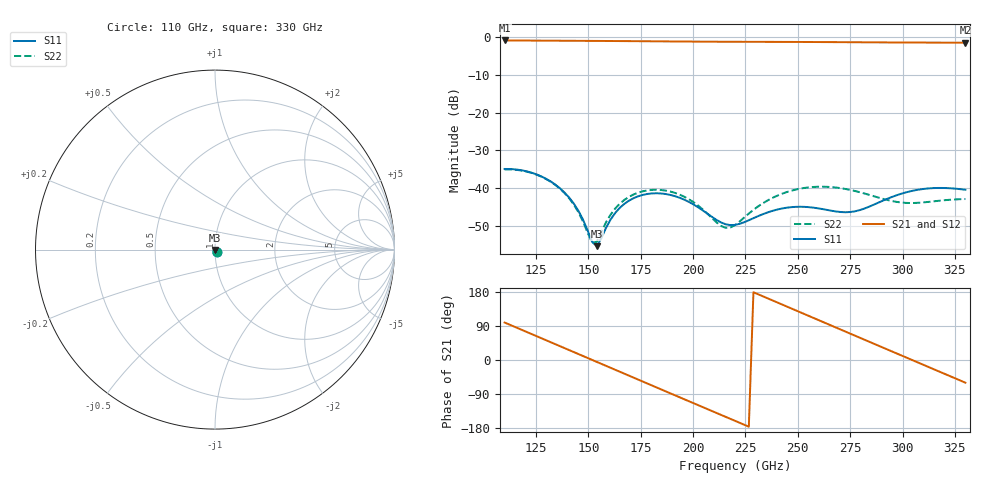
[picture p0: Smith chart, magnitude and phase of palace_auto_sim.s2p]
#  GHZ S DB R 50
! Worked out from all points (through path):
!   101 points, 110 GHz to 330 GHz, reference 50 ohm
!   highest |S21| = -0.95 dB at 110 GHz (marker M1); lowest = -1.5 dB at 330 GHz (marker M2)
!   group delay of S21, straight-line fit = 6.55 ps
!   lowest |S11| = -55.3 dB at 154 GHz (marker M3), VSWR 1.00, Z = 50 - j0.166 ohm
!   |S11| at or under -10 dB: start of sweep to end of sweep
!   |S22| runs from -54.3 to -35.0 dB; largest |S21 - S12| = 1e-13
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110  -34.88 -56.0  -0.95 98.9  -0.95 98.9  -35.02 -55.9
121  -35.57 -80.9  -0.98 73.0  -0.98 73.0  -35.64 -81.0
132  -38.18 -106.1  -1.01 47.0  -1.01 47.0  -38.25 -106.1
140.8  -42.42 -123.6  -1.03 26.2  -1.03 26.2  -42.61 -122.9
147.4  -48.22 -127.8  -1.05 10.6  -1.05 10.6  -48.72 -124.5
151.8  -54.15 -105.1  -1.06 0.2  -1.06 0.2  -54.32 -93.0
154  -55.26 -73.7  -1.07 -5.0  -1.07 -5.0  -54.11 -61.4
160.6  -48.22 -35.7  -1.09 -20.6  -1.09 -20.6  -46.93 -34.1
167.2  -44.08 -43.7  -1.12 -36.2  -1.12 -36.2  -43.04 -43.2
184.8  -41.35 -90.6  -1.19 -77.7  -1.19 -77.7  -40.44 -89.0
200.2  -44.25 -145.5  -1.25 -114.0  -1.25 -114.0  -43.66 -141.4
213.4  -49.02 143.2  -1.29 -145.0  -1.29 -145.0  -49.94 140.6
220  -49.65 96.6  -1.30 -160.5  -1.30 -160.5  -49.70 80.8
228.8  -47.87 46.0  -1.31 178.8  -1.31 178.8  -45.68 28.7
237.6  -45.99 9.2  -1.32 158.0  -1.32 158.0  -42.60 -4.5
257.4  -45.09 -67.9  -1.36 111.2  -1.36 111.2  -39.63 -69.5
266.2  -45.92 -110.9  -1.39 90.4  -1.39 90.4  -39.68 -100.2
275  -46.25 -163.5  -1.41 69.6  -1.41 69.6  -40.41 -133.9
294.8  -42.30 87.6  -1.47 22.9  -1.47 22.9  -43.33 131.0
303.6  -40.78 50.7  -1.49 2.2  -1.49 2.2  -43.87 80.5
312.4  -40.01 16.6  -1.51 -18.5  -1.51 -18.5  -43.57 31.9
330  -40.37 -50.3  -1.54 -59.9  -1.54 -59.9  -42.82 -51.5
